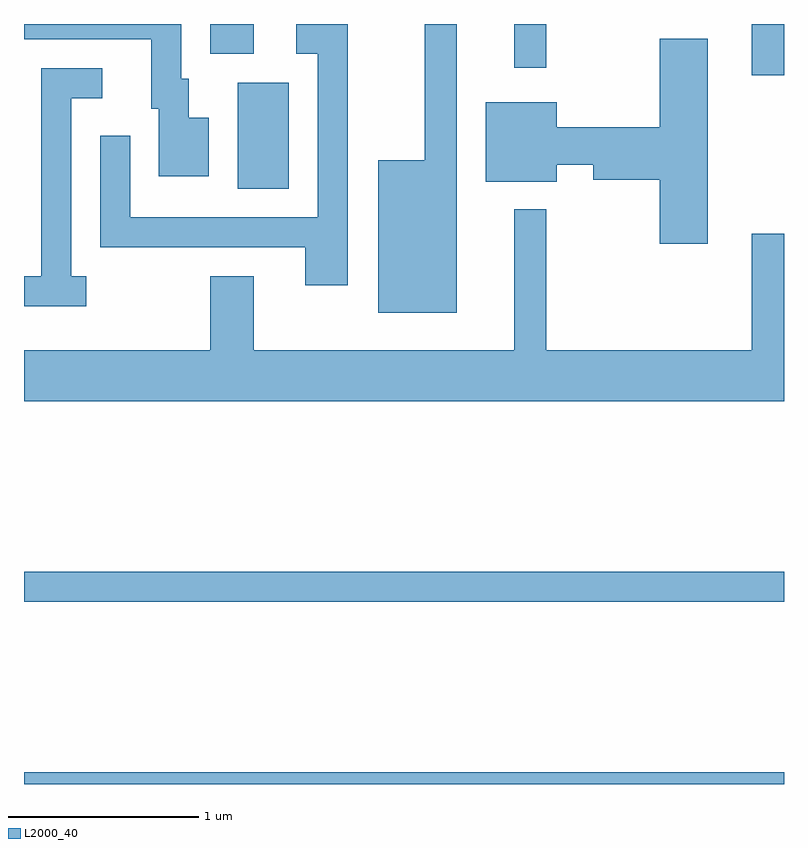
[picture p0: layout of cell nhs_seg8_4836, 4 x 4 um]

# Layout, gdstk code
import gdstk
lib = gdstk.Library(unit=1e-6, precision=1e-09)
def R(c, l, rs):  # rectangles x0, y0, x1, y1
    for r in rs: c.add(gdstk.rectangle(r[:2], r[2:], *l))
def P(c, l, *ps):  # polygons
    for p in ps: c.add(gdstk.Polygon(p, *l))
L2000_40 = (2000, 40)

nhs_seg8_4836 = lib.new_cell('nhs_seg8_4836')
R(nhs_seg8_4836, L2000_40, [(329.611,1894.342,333.611,1894.404), (329.611,1895.301,333.611,1895.459), (330.736,1897.476,331.004,1898.034), (333.441,1898.071,333.611,1898.342), (332.191,1898.113,332.359,1898.342), (330.591,1898.186,330.819,1898.342)])
P(nhs_seg8_4836, L2000_40, [(330.584,1897.849),(330.479,1897.849),(330.479,1898.054),(330.439,1898.054),(330.439,1898.342),(329.611,1898.342),(329.611,1898.261),(330.281,1898.261),(330.281,1897.896),(330.321,1897.896),(330.321,1897.541),(330.584,1897.541)],
  [(331.314,1898.342),(331.043,1898.342),(331.043,1898.186),(331.156,1898.186),(331.156,1897.324),(330.169,1897.324),(330.169,1897.753),(330.011,1897.753),(330.011,1897.166),(331.091,1897.166),(331.091,1896.966),(331.314,1896.966)],
  [(331.889,1898.342),(331.721,1898.342),(331.721,1897.624),(331.476,1897.624),(331.476,1896.821),(331.889,1896.821)],
  [(333.209,1898.264),(332.956,1898.264),(332.956,1897.799),(332.414,1897.799),(332.414,1897.929),(332.041,1897.929),(332.041,1897.511),(332.414,1897.511),(332.414,1897.601),(332.606,1897.601),(332.606,1897.521),(332.956,1897.521),(332.956,1897.186),(333.209,1897.186)],
  [(329.938,1897.014),(329.859,1897.014),(329.859,1897.951),(330.023,1897.951),(330.023,1898.109),(329.701,1898.109),(329.701,1897.014),(329.611,1897.014),(329.611,1896.856),(329.938,1896.856)],
  [(333.611,1897.239),(333.441,1897.239),(333.441,1896.624),(332.359,1896.624),(332.359,1897.368),(332.191,1897.368),(332.191,1896.624),(330.819,1896.624),(330.819,1897.014),(330.591,1897.014),(330.591,1896.624),(329.611,1896.624),(329.611,1896.356),(333.611,1896.356)])

lib.write_gds('nhs_seg8_4836.gds')
